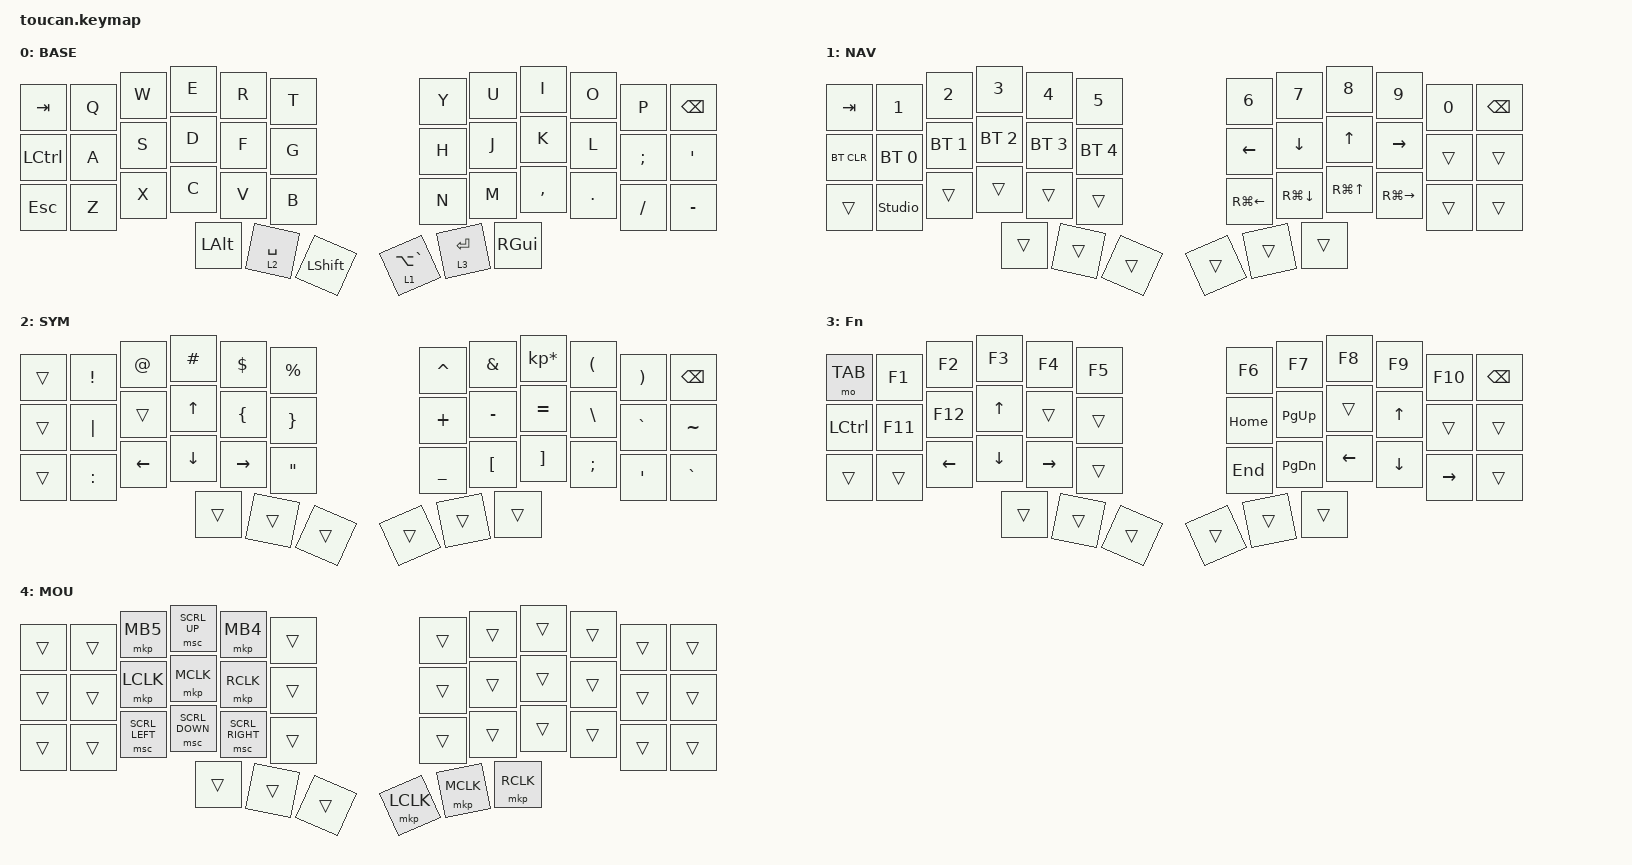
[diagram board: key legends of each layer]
#include <behaviors.dtsi>
#include <dt-bindings/zmk/bt.h>
#include <dt-bindings/zmk/keys.h>
#include <dt-bindings/zmk/pointing.h>

#define BASE 0
#define NAV  1
#define SYM  2
#define ADJ  3

/ {
    conditional_layers { compatible = "zmk,conditional-layers"; };

    keymap {
        compatible = "zmk,keymap";

        base {
            display-name = "BASE";
            bindings = <
&kp TAB  &kp Q  &kp W  &kp E  &kp R  &kp T  &kp Y  &kp U  &kp I  &kp O  &kp P  &kp BSPC  &kp LCTRL  &kp A  &kp S  &kp D  &kp F  &kp G  &kp H  &kp J  &kp K  &kp L  &kp SEMI  &kp SQT  &kp ESCAPE  &kp Z  &kp X  &kp C  &kp V  &kp B  &kp N  &kp M  &kp COMMA  &kp DOT  &kp FSLH  &kp MINUS  &kp LEFT_ALT  &lt 2 SPACE  &kp LEFT_SHIFT  &lt 1 LA(GRAVE)  &lt 3 ENTER  &kp RIGHT_GUI
            >;
        };

        nav {
            display-name = "NAV";
            bindings = <
&kp TAB  &kp N1  &kp N2  &kp N3  &kp N4  &kp N5  &kp N6  &kp N7  &kp N8  &kp N9  &kp N0  &kp BSPC  &bt BT_CLR  &bt BT_SEL 0  &bt BT_SEL 1  &bt BT_SEL 2  &bt BT_SEL 3  &bt BT_SEL 4  &kp LEFT  &kp DOWN  &kp UP  &kp RIGHT  &trans  &trans  &trans  &studio_unlock  &trans  &trans  &trans  &trans  &kp RG(LEFT_ARROW)  &kp RG(DOWN_ARROW)  &kp RG(UP_ARROW)  &kp RG(RIGHT_ARROW)  &trans  &trans  &trans  &trans  &trans  &trans  &trans  &trans
            >;
        };

        sym {
            display-name = "SYM";
            bindings = <
&trans  &kp EXCL  &kp AT  &kp HASH  &kp DLLR  &kp PRCNT  &kp CARET  &kp AMPS  &kp KP_MULTIPLY  &kp LPAR  &kp RPAR  &kp BSPC  &trans  &kp PIPE  &trans  &kp UP_ARROW  &kp LEFT_BRACE  &kp RIGHT_BRACE  &kp PLUS  &kp MINUS  &kp EQUAL  &kp BACKSLASH  &kp GRAVE  &kp TILDE  &trans  &kp COLON  &kp LEFT_ARROW  &kp DOWN_ARROW  &kp RIGHT_ARROW  &kp DOUBLE_QUOTES  &kp UNDER  &kp LEFT_BRACKET  &kp RIGHT_BRACKET  &kp SEMICOLON  &kp SQT  &kp GRAVE  &trans  &trans  &trans  &trans  &trans  &trans
            >;
        };

        Func {
            display-name = "Fn";
            bindings = <
&mo TAB  &kp F1  &kp F2  &kp F3  &kp F4  &kp F5  &kp F6  &kp F7  &kp F8  &kp F9  &kp F10  &kp BSPC  &kp LCTRL  &kp F11  &kp F12  &kp UP_ARROW  &trans  &trans  &kp HOME  &kp PAGE_UP  &trans  &kp UP_ARROW  &trans  &trans  &trans  &trans  &kp LEFT_ARROW  &kp DOWN_ARROW  &kp RIGHT_ARROW  &trans  &kp END  &kp PAGE_DOWN  &kp LEFT_ARROW  &kp DOWN_ARROW  &kp RIGHT_ARROW  &trans  &trans  &trans  &trans  &trans  &trans  &trans
            >;
        };

        mouse {
            display-name = "MOU";
            bindings = <
&trans  &trans  &mkp MB5  &msc SCRL_UP  &mkp MB4  &trans  &trans  &trans  &trans  &trans  &trans  &trans  &trans  &trans  &mkp LCLK  &mkp MCLK  &mkp RCLK  &trans  &trans  &trans  &trans  &trans  &trans  &trans  &trans  &trans  &msc SCRL_LEFT  &msc SCRL_DOWN  &msc SCRL_RIGHT  &trans  &trans  &trans  &trans  &trans  &trans  &trans  &trans  &trans  &trans  &mkp LCLK  &mkp MCLK  &mkp RCLK
            >;
        };

        extra_2 { status = "reserved"; };

        extra_3 { status = "reserved"; };
    };
};
